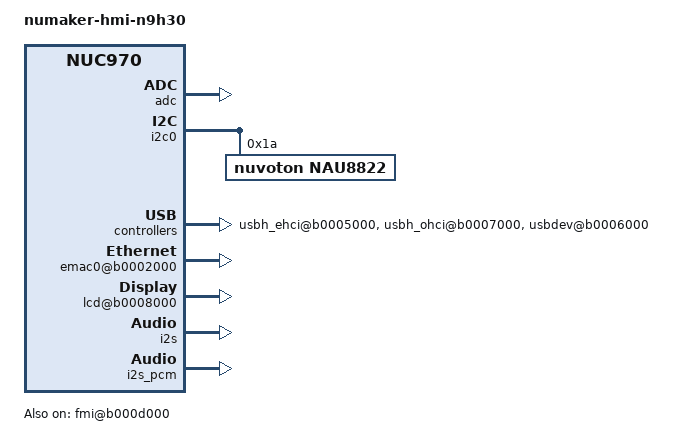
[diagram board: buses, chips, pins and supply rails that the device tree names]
/*
 * Device Tree Source for NUC970 DEV board
 *
 * Copyright (C) 2018 Nuvoton Technology Corp.
 *
 * The code contained herein is licensed under the GNU General Public
 * License. You may obtain a copy of the GNU General Public License
 * Version 2 or later at the following locations:
 *
 * http://www.opensource.org/licenses/gpl-license.html
 * http://www.gnu.org/copyleft/gpl.html
 */
/dts-v1/;

#include "nuc970.dtsi"
/ {
	model = "numaker-hmi-n9h30";
	compatible = "nuvoton,nuc972-evb", "nuvoton,nuc972", "nuvoton,nuc970";

	chosen {
		bootargs = "noinitrd rootfstype=squashfs,ubifs console=ttyS0,115200n8 rdinit=/sbin/init mem=64M lpj=744448";
	};

	reserved-memory {
		ranges;
		#address-cells = <1>;
		#size-cells = <1>;

		display_buf: display_buf@0 { /* 800 x 480 x 4 x 2 = 0x2EE000 (RGB888 dual buffer) */
			reg = <0x2800000 0x2EE000>;
			no-map;
		};

		ge2d_buf: ge2d_buf@0 { /* 800 x 480 x 4 = 0x177000 (RGB888 dual buffer) */
			reg = <0x3B9B000 0x177000>;
			no-map;
		};
	};

	apb {
		uart1: serial@b8000100 {
			status = "disabled";
		};

		uart2: serial@b8000200 {
			status = "disabled";
		};

		uart3: serial@b8000300 {
			status = "disabled";
		};

		uart4: serial@b8000400 {
			status = "disabled";
		};

		can0: can@b800b000 {
			status = "disabled";
		};

		can1: can@b800b400 {
			status = "disabled";
		};

		kpi: kpi@b8008000 {
			status = "disabled";
		};

		rtc: rtc@b8004000 {
			status = "disabled";
		};

		jpeg: jpeg@b000a000 {
			status = "okay";
		};

		adc: adc@b800a000 {
			keypad-status = "disabled";
			touch-status = "okay";
			status = "okay";
		};
		
		nadc: nadc@b800a000 {
			status = "disabled";
		};

		i2c_gpio@0 {
			status = "disabled";
		};

		i2c0: i2c0@b8006000 {
			status = "okay";

			nau8822: nau8822@1a {
				compatible = "nuvoton,nau8822";
				reg = <0x1a> ;
			};
		};

		i2c1: i2c1@b8006100 {
			status = "disabled";
		};

		pwm0: pwm0@b8007000 {
			status = "disabled";
		};

		pwm1: pwm1@b8007000 {
			status = "disabled";
		};

		pwm2: pwm2@b8007000 {
			status = "disabled";
		};

		pwm3: pwm3@b8007000 {
			status = "disabled";
		};

	};

	ahb {
		usbh_ehci@b0005000 {
		    pm_vbus_off = <0>;
			status = "okay";
		};
		usbh_ohci@b0007000 {
			status = "okay";
		};

		crypto@b000f000 {
			status = "okay";
		};

		usbdev@b0006000 {
			status = "okay";
		};

		fmi@b000d000 {
			compatible = "nuvoton,nuc970-fmi", "nand0";
			pinctrl-names = "default";
			pinctrl-0 = <&pinctrl_nand_pc>;
			status = "okay";

			nand-ecc-mode = "hw_oob_first";
			nand-ecc-algo = "bch";
			nand-bus-width = <8>;
			nand-ecc-strength = <4>;
			nand-ecc-step-size = <512>;
			nand-on-flash-bbt;

			partitions {
				compatible = "fixed-partitions";
				#address-cells = <1>;
				#size-cells = <1>;

				uboot@0 {
					label = "uboot";
					reg = <0x00000000 0x00180000>;
				};
				dtb@180000 {
					label = "dtb";
					reg = <0x00180000 0x00020000>;
				};
				firmware@200000 {
					label = "firmware";
					reg = <0x00200000 0x00000000>;
				};
			};
		};

		sdh@b000c000 {
			pinctrl-names = "default";
			pinctrl-0 = <&pinctrl_sd0>;
			status = "okay";
		};

		emac0@b0002000 {
			status = "okay";
		};
		cap@b000e000 {
			status = "disabled";
		};
		dma@b0004000 {
			status = "disabled";
		};
		ebi@b0001000 {
			status = "disabled";
		};
		emac1@b0003000 {
			status = "disabled";
		};

		lcd@b0008000 {
			status = "okay";
			pinctrl-names = "default";
			pinctrl-0 = <&pinctrl_lcd_24bit>;
			memory-region = <&display_buf>;
			type = <0x200>;
			bpp = <32>;
			width = <800>;
			height = <480>;
			xres = <800>;
			yres = <480>;
			pixclock = <32000000>;
			left_margin = <40>;
			right_margin = <196>;
			hsync_len = <20>;
			upper_margin = <23>;
			lower_margin = <19>;
			vsync_len = <3>;
			dccs = <0x0000020a>;
			fbctrl = <0x03200320>;
			devctl = <0x070000c0>;
			scale = <0x04000400>;
			gpio_blen = <0xC3>;
			gpio_lcs = <0xC2>;

		};

		ge2d@b000b000 {
			status = "okay";
			memory-region = <&ge2d_buf>;
		};

		i2s: i2s@b0009000 {
			status = "okay";
		};

		i2s_pcm: i2s_pcm {
			status = "okay";
		};

		sound {
			compatible = "nuvoton,nuc970-audio";
			i2s-controller = <&i2s>;
			i2s-platform = <&i2s_pcm>;
		};
	};
};
